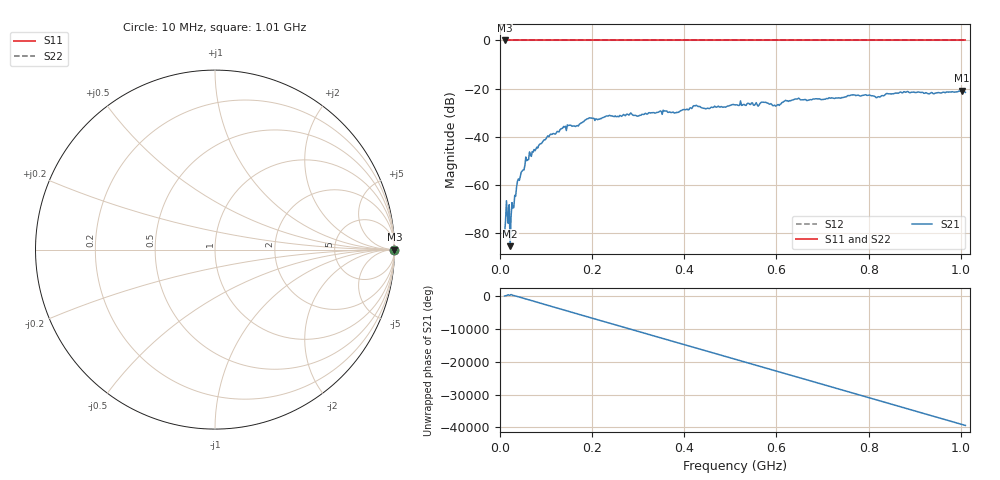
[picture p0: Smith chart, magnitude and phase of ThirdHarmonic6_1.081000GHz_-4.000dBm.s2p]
! 8/16/2025 9:55:33 AM
! C:\ANRITSUVNA\TEMP\TEMP.S2P
! CHANNEL.1
! TR.MEASUREMENT
! RAW.DATA
! RF.CORRECTION.OFF
! AVERAGING.OFF
! IF.BANDWIDTH: 5KHZ
! SWEEPTYPE:  FREQ.SWEEP(Linear)
! Reference Plane Port Info
! PORT:  PORT1  PORT2
! DISTANCE:  0  m  0  m
! TIME:  0  s  0  s
! PHASE.OFFSET:  0  deg.  0  deg.
! LOSS:  0  dB  0  dB
! REF.LOSS:  0  dB  0  dB
! REF.FREQ:  0  Hz  0  Hz
! Power Info
! POWER:  -20  dBm  -20  dBm
! EFF.POWER:  -20  dBm  -20  dBm
! SOURCE.ATTEN:  0  dB  0  dB
! TEST.ATTEN:  0  dB  0  dB
# GHZ S RI R 50.0
! FREQ.GHZ  S11RE  S11IM  S21RE  S21IM  S12RE  S12IM  S22RE  S22IM
!; PortSelection: Port_12
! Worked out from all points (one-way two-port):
!   501 points, 10 MHz to 1.01 GHz, reference 50 ohm
!   highest |S21| = -20.93 dB at 1.002 GHz (marker M1); lowest = -85.5 dB at 22 MHz (marker M2)
!   lowest |S11| = 0.0 dB at 10 MHz (marker M3)
!   |S11| at or under -10 dB: nowhere
!   |S22| runs from 0.0 to 0.0 dB; largest |S21 - S12| = 1.1
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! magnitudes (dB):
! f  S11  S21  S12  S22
! 10 MHz  0.0  -80.2  0.0  0.0
! 16 MHz  0.0  -72.7  0.0  0.0
! 20 MHz  0.0  -68.3  0.0  0.0
! 22 MHz  0.0  -85.5  0.0  0.0
! 26 MHz  0.0  -67.4  0.0  0.0
! 28 MHz  0.0  -69.6  0.0  0.0
! 40 MHz  0.0  -57.6  0.0  0.0
! 60 MHz  0.0  -49.6  0.0  0.0
! 106 MHz  0.0  -40.0  0.0  0.0
! 178 MHz  0.0  -34.1  0.0  0.0
! 194 MHz  0.0  -32.1  0.0  0.0
! 344 MHz  0.0  -29.7  0.0  0.0
! 382 MHz  0.0  -30.0  0.0  0.0
! 424 MHz  0.0  -27.1  0.0  0.0
! 510 MHz  0.0  -26.8  0.0  0.0
! 572 MHz  0.0  -25.8  0.0  0.0
! 596 MHz  0.0  -26.9  0.0  0.0
! 644 MHz  0.0  -24.4  0.0  0.0
! 678 MHz  0.0  -24.5  0.0  0.0
! 844 MHz  0.0  -22.2  0.0  0.0
! 1.002 GHz  0.0  -20.9  0.0  0.0
! 1.01 GHz  0.0  -21.6  0.0  0.0
